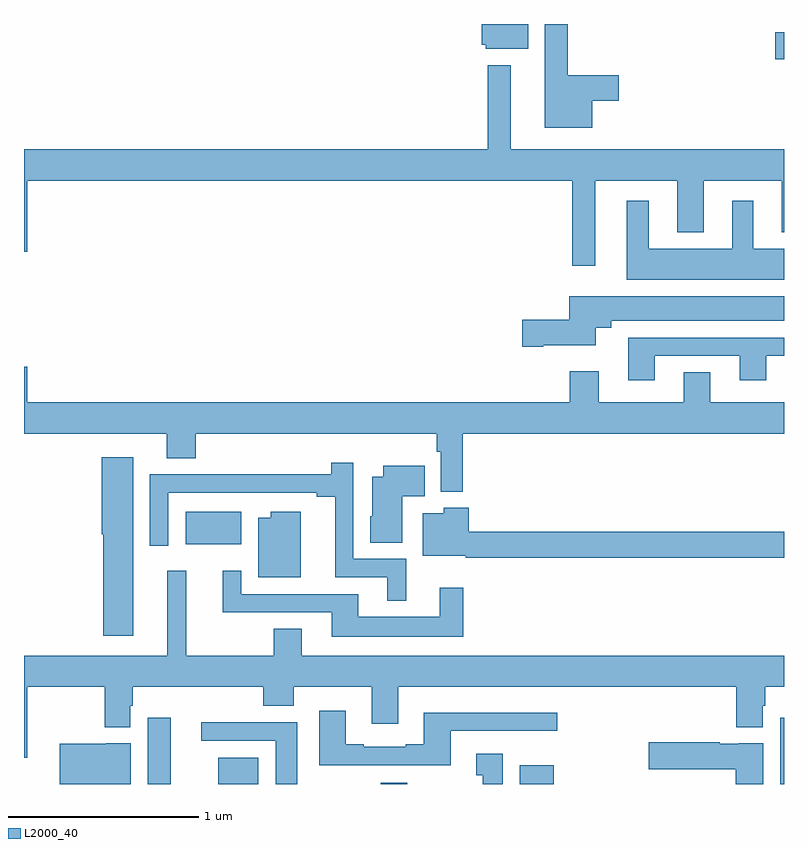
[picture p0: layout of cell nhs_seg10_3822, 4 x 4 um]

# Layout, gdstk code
import gdstk
lib = gdstk.Library(unit=1e-6, precision=1e-09)
def R(c, l, rs):  # rectangles x0, y0, x1, y1
    for r in rs: c.add(gdstk.rectangle(r[:2], r[2:], *l))
def P(c, l, *ps):  # polygons
    for p in ps: c.add(gdstk.Polygon(p, *l))
L2000_40 = (2000, 40)

nhs_seg10_3822 = lib.new_cell('nhs_seg10_3822')
R(nhs_seg10_3822, L2000_40, [(321.65,1270.5,321.772,1270.849), (322.022,1270.5,322.234,1270.639), (322.877,1270.5,323.017,1270.507), (323.609,1270.5,323.788,1270.6), (324.98,1270.5,325,1270.849), (321.851,1271.762,322.144,1271.932), (324.954,1274.314,325,1274.456)])
P(nhs_seg10_3822, L2000_40, [(323.653,1274.5),(323.408,1274.5),(323.408,1274.391),(323.43,1274.391),(323.43,1274.369),(323.653,1274.369)],
  [(323.992,1274.096),(324.13,1274.096),(324.13,1274.231),(323.863,1274.231),(323.863,1274.5),(323.741,1274.5),(323.741,1273.955),(323.992,1273.955)],
  [(324.007,1273.676),(324.437,1273.676),(324.437,1273.403),(324.577,1273.403),(324.577,1273.676),(324.989,1273.676),(324.989,1273.403),(325,1273.403),(325,1273.84),(323.563,1273.84),(323.563,1274.284),(323.442,1274.284),(323.442,1273.84),(321,1273.84),(321,1273.302),(321.016,1273.302),(321.016,1273.676),(323.886,1273.676),(323.886,1273.227),(324.007,1273.227)],
  [(325,1273.318),(324.838,1273.318),(324.838,1273.57),(324.728,1273.57),(324.728,1273.318),(324.289,1273.318),(324.289,1273.57),(324.173,1273.57),(324.173,1273.154),(325,1273.154)],
  [(323.734,1272.809),(324.01,1272.809),(324.01,1272.902),(324.091,1272.902),(324.091,1272.938),(325,1272.938),(325,1273.066),(323.87,1273.066),(323.87,1272.944),(323.622,1272.944),(323.622,1272.802),(323.734,1272.802)],
  [(324.319,1272.753),(324.767,1272.753),(324.767,1272.624),(324.907,1272.624),(324.907,1272.753),(325,1272.753),(325,1272.849),(324.179,1272.849),(324.179,1272.624),(324.319,1272.624)],
  [(323.309,1272.344),(325,1272.344),(325,1272.508),(324.613,1272.508),(324.613,1272.668),(324.473,1272.668),(324.473,1272.508),(324.025,1272.508),(324.025,1272.673),(323.873,1272.673),(323.873,1272.508),(321.016,1272.508),(321.016,1272.697),(321,1272.697),(321,1272.344),(321.752,1272.344),(321.752,1272.214),(321.905,1272.214),(321.905,1272.344),(323.173,1272.344),(323.173,1272.248),(323.193,1272.248),(323.193,1272.038),(323.309,1272.038)],
  [(321.574,1272.22),(321.41,1272.22),(321.41,1271.814),(321.416,1271.814),(321.416,1271.28),(321.574,1271.28)],
  [(323.011,1271.685),(322.734,1271.685),(322.734,1272.19),(322.618,1272.19),(322.618,1272.131),(321.988,1272.131),(321.988,1272.129),(321.663,1272.129),(321.663,1271.754),(321.759,1271.754),(321.759,1272.033),(322.541,1272.033),(322.541,1272.013),(322.637,1272.013),(322.637,1271.589),(322.913,1271.589),(322.913,1271.465),(323.011,1271.465)],
  [(322.99,1272.014),(323.108,1272.014),(323.108,1272.175),(322.892,1272.175),(322.892,1272.118),(322.832,1272.118),(322.832,1271.91),(322.823,1271.91),(322.823,1271.77),(322.99,1271.77)],
  [(325,1271.828),(323.342,1271.828),(323.342,1271.953),(323.208,1271.953),(323.208,1271.926),(323.099,1271.926),(323.099,1271.702),(323.325,1271.702),(323.325,1271.692),(325,1271.692)],
  [(322.456,1271.932),(322.298,1271.932),(322.298,1271.902),(322.232,1271.902),(322.232,1271.588),(322.456,1271.588)],
  [(323.311,1271.533),(323.189,1271.533),(323.189,1271.38),(322.759,1271.38),(322.759,1271.499),(322.143,1271.499),(322.143,1271.623),(322.046,1271.623),(322.046,1271.403),(322.619,1271.403),(322.619,1271.276),(323.311,1271.276)],
  [(321.016,1271.012),(321.424,1271.012),(321.424,1270.799),(321.559,1270.799),(321.559,1270.911),(321.572,1270.911),(321.572,1271.012),(322.259,1271.012),(322.259,1270.913),(322.419,1270.913),(322.419,1271.012),(322.829,1271.012),(322.829,1270.818),(322.969,1270.818),(322.969,1271.012),(324.749,1271.012),(324.749,1270.799),(324.889,1270.799),(324.889,1270.911),(324.902,1270.911),(324.902,1271.012),(325,1271.012),(325,1271.176),(322.462,1271.176),(322.462,1271.318),(322.315,1271.318),(322.315,1271.176),(321.854,1271.176),(321.854,1271.623),(321.755,1271.623),(321.755,1271.176),(321,1271.176),(321,1270.638),(321.016,1270.638)],
  [(322.785,1270.599),(323.245,1270.599),(323.245,1270.779),(323.806,1270.779),(323.806,1270.876),(323.105,1270.876),(323.105,1270.708),(323.009,1270.708),(323.009,1270.695),(322.789,1270.695),(322.789,1270.708),(322.693,1270.708),(322.693,1270.885),(322.553,1270.885),(322.553,1270.598),(322.785,1270.598)],
  [(322.438,1270.826),(321.933,1270.826),(321.933,1270.728),(322.325,1270.728),(322.325,1270.5),(322.438,1270.5)],
  [(324.892,1270.714),(324.762,1270.714),(324.762,1270.711),(324.662,1270.711),(324.662,1270.719),(324.288,1270.719),(324.288,1270.577),(324.746,1270.577),(324.746,1270.5),(324.892,1270.5)],
  [(321.562,1270.714),(321.432,1270.714),(321.432,1270.711),(321.188,1270.711),(321.188,1270.5),(321.562,1270.5)],
  [(323.521,1270.66),(323.381,1270.66),(323.381,1270.547),(323.414,1270.547),(323.414,1270.5),(323.521,1270.5)])

lib.write_gds('nhs_seg10_3822.gds')
